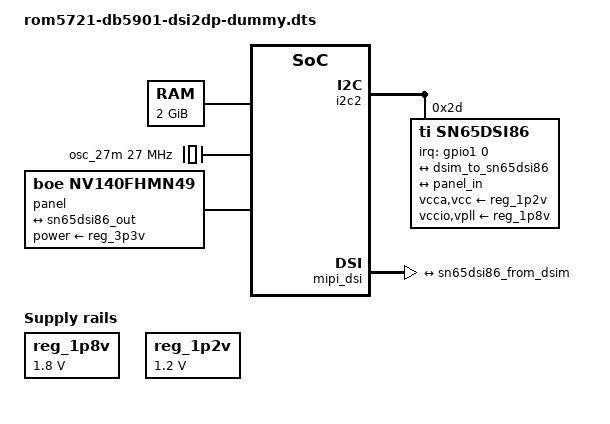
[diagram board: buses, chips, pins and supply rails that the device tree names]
#include "rom5721-db5901.dtsi"

/ {
	memory@40000000 {
		device_type = "memory";
		reg = <0x0 0x40000000 0 0x80000000>;
	};
	
	osc_27m: clock-osc-27m {
		compatible = "fixed-clock";
		#clock-cells = <0>;
		clock-frequency = <27000000>;
		clock-output-names = "osc_27m";
	};
	
	/* Define dummy regulators if board-specific ones aren't available */
	reg_1p8v: regulator-1p8v {
		compatible = "regulator-fixed";
		regulator-name = "1P8V";
		regulator-min-microvolt = <1800000>;
		regulator-max-microvolt = <1800000>;
		regulator-always-on;
	};
	
	reg_1p2v: regulator-1p2v {
		compatible = "regulator-fixed";
		regulator-name = "1P2V";
		regulator-min-microvolt = <1200000>;
		regulator-max-microvolt = <1200000>;
		regulator-always-on;
	};
	
	panel: edp_panel {
		/* Use a standard fallback that exists in the driver */
		compatible = "boe,nv140fhmn49", "simple-panel";
		power-supply = <&reg_3p3v>; /* Ensure this regulator exists */
		status = "okay";
		
		port {
			panel_in: endpoint {
				remote-endpoint = <&sn65dsi86_out>;
			};
		};
	};
	
};

&i2c2 {
	sn65dsi86@2d {
		compatible = "ti,sn65dsi86";
		reg = <0x2d>;
		
		/* Power Supplies - REQUIRED for driver to probe successfully */
		vcca-supply = <&reg_1p2v>;   /* 1.2V Analog */
		vcc-supply = <&reg_1p2v>;    /* 1.2V Digital */
		vccio-supply = <&reg_1p8v>;  /* 1.8V IO */
		vpll-supply = <&reg_1p8v>;   /* 1.8V PLL */
		
		/* Clocks and GPIOs */
		clock-names = "refclk";
		clocks = <&osc_27m>;
		
		/* Enable GPIO for interrupt */
		interrupt-parent = <&gpio1>;
		interrupts = <0 IRQ_TYPE_LEVEL_HIGH>;
		
		/* Allow the bridge to be a GPIO controller (optional but good) */
		gpio-controller;
		#gpio-cells = <2>;
		
		/* Allow the bridge to be a PWM controller (optional) */
		#pwm-cells = <1>;
		
		status = "okay";
		
		ports {
			#address-cells = <1>;
			#size-cells = <0>;
			
			port@0 {
				reg = <0>;
				sn65dsi86_from_dsim: endpoint {
					remote-endpoint = <&dsim_to_sn65dsi86>;
				};
			};
			
			port@1 {
				reg = <1>;
				sn65dsi86_out: endpoint {
					data-lanes = <2 1 3 0>;
					lane-polarities = <0 1 0 1>;
					remote-endpoint = <&panel_in>;
				};
			};
		};
	};
};

&mipi_dsi {
	status = "okay";
	/*
	* Ensure we aren't conflicting with other panels.
	* The node name to delete depends on your dtsi, usually panel@0
	*/
	/delete-node/ panel@0;
	
	ports {
		port@1 {
			reg = <1>;
			dsim_to_sn65dsi86: endpoint {
				remote-endpoint = <&sn65dsi86_from_dsim>;
				attach-bridge;
			};
		};
	};
};

&iomuxc {
	pinctrl_dsi2dp_irq: dsi2dpgrp {
		fsl,pins = <
		MX8MM_IOMUXC_GPIO1_IO00_GPIO1_IO0 0x159 /* DSI2DP IRQ */
		>;
	};
};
